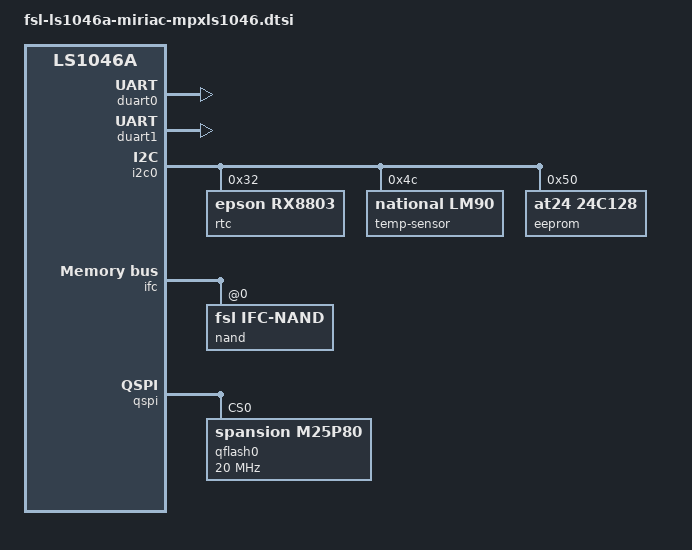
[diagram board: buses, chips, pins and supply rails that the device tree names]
// SPDX-License-Identifier: (GPL-2.0+ OR MIT)

/ {
	compatible = "microsys,mpxls1046a", "fsl,ls1046a";
};

&duart0 {
	status = "okay";
};

&duart1 {
	status = "okay";
};

&i2c0 {
	status = "okay";

	rtc@32 {
		compatible = "epson,rx8803";
		reg = <0x32>;
	};

	temp-sensor@4c {
		compatible = "national,lm90";
		reg = <0x4c>;
	};

	eeprom@50 {
		compatible = "at24,24c128";
		reg = <0x50>;
	};
};

&ifc {
	#address-cells = <2>;
	#size-cells = <1>;

	ranges = <0x0 0x0 0x0 0x7e800000 0x00010000>;
	status = "okay";

	nand@0,0 {
		compatible = "fsl,ifc-nand";
		#address-cells = <1>;
		#size-cells = <1>;
		reg = <0x0 0x0 0x10000>;
	};
};

&qspi {
	num-cs = <1>;
	bus-num = <0>;
	status = "okay";

	qflash0: flash@0 {
		compatible = "spansion,m25p80";
		#address-cells = <1>;
		#size-cells = <1>;
		spi-max-frequency = <20000000>;
		m25p,fast-read;
		reg = <0>;
	};
};
